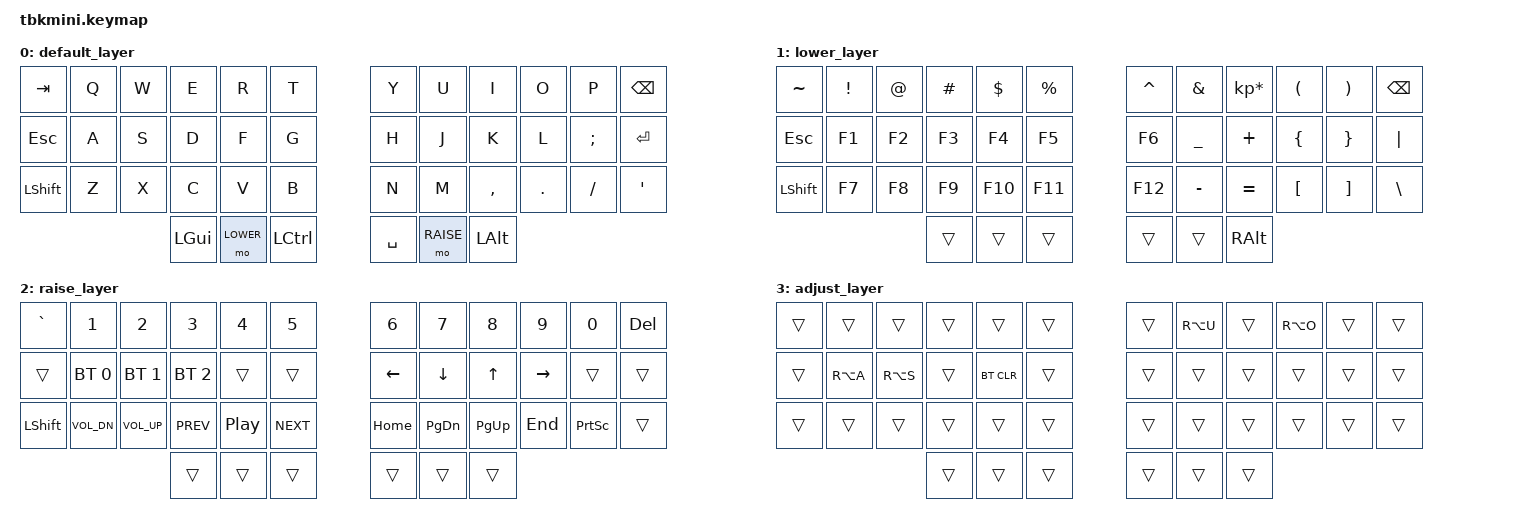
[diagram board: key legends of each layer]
#include <behaviors.dtsi>
#include <dt-bindings/zmk/keys.h>
#include <dt-bindings/zmk/bt.h>

#define DEFAULT 0
#define LOWER   1
#define RAISE   2
#define ADJUST  3

/ {
    conditional_layers {
        compatible = "zmk,conditional-layers";

        // Hold both thumb layer keys to reach ADJUST.
        tri_layer {
            if-layers = <LOWER RAISE>;
            then-layer = <ADJUST>;
        };
    };

    keymap {
        compatible = "zmk,keymap";

        default_layer {
            bindings = <
    &kp TAB   &kp Q     &kp W     &kp E     &kp R     &kp T     &kp Y     &kp U     &kp I     &kp O     &kp P     &kp BSPC
    &kp ESC   &kp A     &kp S     &kp D     &kp F     &kp G     &kp H     &kp J     &kp K     &kp L     &kp SEMI  &kp RET
    &kp LSHFT &kp Z     &kp X     &kp C     &kp V     &kp B     &kp N     &kp M     &kp COMMA &kp DOT   &kp FSLH  &kp SQT
                 &kp LGUI &mo LOWER &kp LCTRL &kp SPACE &mo RAISE &kp LALT 
            >;
        };

        lower_layer {
            bindings = <
    &kp TILDE   &kp EXCL    &kp AT       &kp HASH    &kp DLLR    &kp PRCNT   &kp CARET   &kp AMPS    &kp KP_MULTIPLY &kp LPAR &kp RPAR &kp BSPC
    &kp ESC     &kp F1      &kp F2       &kp F3      &kp F4      &kp F5     &kp F6     &kp UNDER   &kp PLUS       &kp LBRC &kp RBRC &kp PIPE
    &kp LSHFT  &kp F7      &kp F8       &kp F9      &kp F10     &kp F11    &kp F12    &kp MINUS   &kp EQUAL      &kp LBKT &kp RBKT &kp BSLH
                 &trans     &trans   &trans   &trans      &trans     &kp RALT
            >;
        };

        raise_layer {
            bindings = <
    &kp GRAVE  &kp N1    &kp N2      &kp N3     &kp N4     &kp N5      &kp N6    &kp N7    &kp N8    &kp N9    &kp N0    &kp DEL
    &trans     &bt BT_SEL 0 &bt BT_SEL 1 &bt BT_SEL 2 &trans     &trans    &kp LEFT  &kp DOWN  &kp UP    &kp RIGHT &trans    &trans
    &kp LSHFT &kp C_VOL_DN &kp C_VOL_UP &kp C_PREV &kp C_PP &kp C_NEXT &kp HOME &kp PG_DN &kp PG_UP &kp END &kp PSCRN &trans
                &trans    &trans     &trans   &trans  &trans    &trans
            >;
        };

        // LOWER + RAISE. Umlauts sit on their own letters; RA() sends the
        // key with AltGr held, so EurKEY resolves it to the accented form.
        // Holding shift gives the capital.
        adjust_layer {
            bindings = <
    &trans     &trans    &trans      &trans     &trans     &trans      &trans    &kp RA(U) &trans    &kp RA(O) &trans    &trans
    &trans     &kp RA(A) &kp RA(S)   &trans     &bt BT_CLR &trans      &trans    &trans    &trans    &trans    &trans    &trans
    &trans     &trans    &trans      &trans     &trans     &trans      &trans    &trans    &trans    &trans    &trans    &trans
                &trans    &trans     &trans   &trans  &trans    &trans
            >;
        };
    };
};
